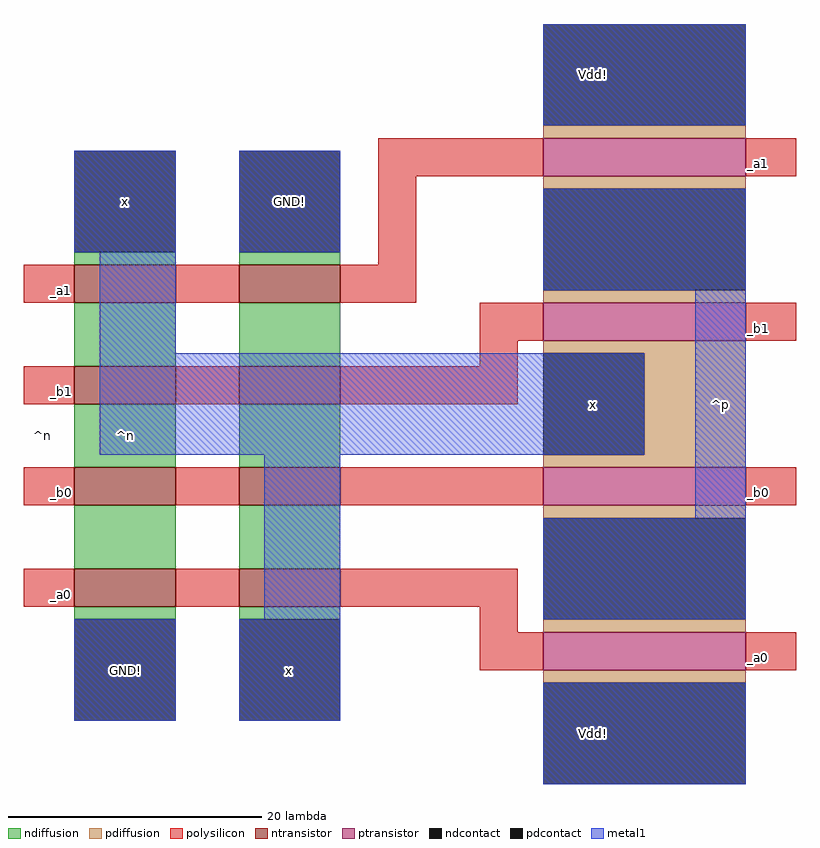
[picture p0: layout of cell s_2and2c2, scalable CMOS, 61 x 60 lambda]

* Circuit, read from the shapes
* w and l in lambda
.subckt s_2and2c2 GND! Vdd! _a0 _a1 _b0 _b1 x
M1 n1 _a0 GND! VSUBS nfet w=8 l=3
M2 n2 _b0 n1 VSUBS nfet w=8 l=3
M3 n3 _b1 n2 VSUBS nfet w=8 l=3
M4 x _a1 n3 VSUBS nfet w=8 l=3
M5 n4 _a0 x VSUBS nfet w=8 l=3
M6 n5 _b0 n4 VSUBS nfet w=8 l=3
M7 n6 _b1 n5 VSUBS nfet w=8 l=3
M8 GND! _a1 n6 VSUBS nfet w=8 l=3
M9 n7 _a0 Vdd! NWELL pfet w=16 l=3
M10 x _b0 n7 NWELL pfet w=16 l=3
M11 n7 _b1 x NWELL pfet w=16 l=3
M12 Vdd! _a1 n7 NWELL pfet w=16 l=3
.ends

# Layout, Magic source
magic
tech scmos
<< ndiffusion >>
rect -120 132 -112 133
rect -107 132 -99 133
rect -120 124 -112 129
rect -107 124 -99 129
rect -120 116 -112 121
rect -107 116 -99 121
rect -120 108 -112 113
rect -107 108 -99 113
rect -120 104 -112 105
rect -107 104 -99 105
<< pdiffusion >>
rect -83 142 -67 143
rect -83 138 -67 139
rect -83 129 -67 130
rect -83 125 -67 126
rect -75 117 -67 125
rect -83 116 -67 117
rect -83 112 -67 113
rect -83 103 -67 104
rect -83 99 -67 100
<< ntransistor >>
rect -120 129 -112 132
rect -107 129 -99 132
rect -120 121 -112 124
rect -107 121 -99 124
rect -120 113 -112 116
rect -107 113 -99 116
rect -120 105 -112 108
rect -107 105 -99 108
<< ptransistor >>
rect -83 139 -67 142
rect -83 126 -67 129
rect -83 113 -67 116
rect -83 100 -67 103
<< polysilicon >>
rect -96 139 -83 142
rect -67 139 -63 142
rect -96 132 -93 139
rect -124 129 -120 132
rect -112 129 -107 132
rect -99 129 -93 132
rect -88 126 -83 129
rect -67 126 -63 129
rect -88 124 -85 126
rect -124 121 -120 124
rect -112 121 -107 124
rect -99 121 -85 124
rect -124 113 -120 116
rect -112 113 -107 116
rect -99 113 -83 116
rect -67 113 -63 116
rect -124 105 -120 108
rect -112 105 -107 108
rect -99 105 -85 108
rect -88 103 -85 105
rect -88 100 -83 103
rect -67 100 -63 103
<< ndcontact >>
rect -120 133 -112 141
rect -107 133 -99 141
rect -120 96 -112 104
rect -107 96 -99 104
<< pdcontact >>
rect -83 143 -67 151
rect -83 130 -67 138
rect -83 117 -75 125
rect -83 104 -67 112
rect -83 91 -67 99
<< metal1 >>
rect -83 143 -67 151
rect -120 133 -112 141
rect -107 133 -99 141
rect -118 125 -112 133
rect -83 130 -67 138
rect -118 117 -75 125
rect -105 104 -99 117
rect -71 112 -67 130
rect -83 104 -67 112
rect -120 96 -112 104
rect -107 96 -99 104
rect -83 91 -67 99
<< labels >>
rlabel metal1 -79 121 -79 121 1 x
rlabel metal1 -116 137 -116 137 5 x
rlabel metal1 -116 100 -116 100 1 GND!
rlabel metal1 -103 100 -103 100 1 x
rlabel metal1 -103 137 -103 137 5 GND!
rlabel metal1 -79 147 -79 147 5 Vdd!
rlabel metal1 -79 95 -79 95 1 Vdd!
rlabel polysilicon -121 106 -121 106 3 _a0
rlabel polysilicon -121 130 -121 130 3 _a1
rlabel polysilicon -121 114 -121 114 3 _b0
rlabel polysilicon -121 122 -121 122 3 _b1
rlabel polysilicon -66 101 -66 101 3 _a0
rlabel polysilicon -66 114 -66 114 3 _b0
rlabel polysilicon -66 127 -66 127 3 _b1
rlabel polysilicon -66 140 -66 140 3 _a1
rlabel space -125 96 -120 141 7 ^n
rlabel space -126 95 -106 142 7 ^n
rlabel space -76 90 -62 152 3 ^p
<< end >>
